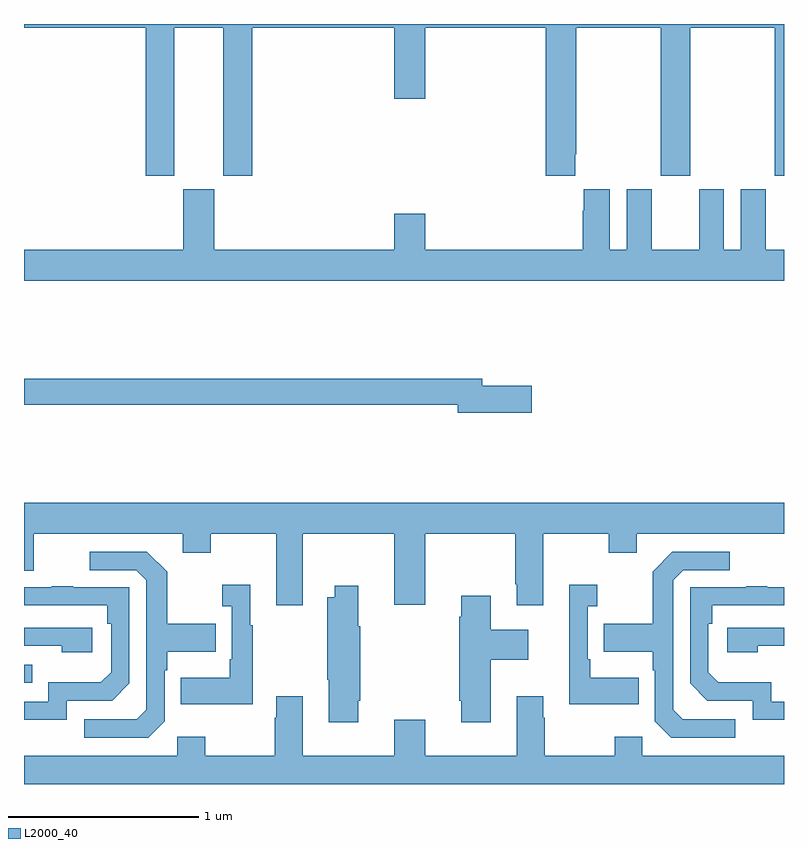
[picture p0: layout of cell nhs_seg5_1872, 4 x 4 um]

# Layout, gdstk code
import gdstk
lib = gdstk.Library(unit=1e-6, precision=1e-09)
def R(c, l, rs):  # rectangles x0, y0, x1, y1
    for r in rs: c.add(gdstk.rectangle(r[:2], r[2:], *l))
def P(c, l, *ps):  # polygons
    for p in ps: c.add(gdstk.Polygon(p, *l))
L2000_40 = (2000, 40)

nhs_seg5_1872 = lib.new_cell('nhs_seg5_1872')
R(nhs_seg5_1872, L2000_40, [(223,833.331,223.043,833.427)])
P(nhs_seg5_1872, L2000_40, [(223.792,836.78),(224.048,836.78),(224.048,836.001),(224.201,836.001),(224.201,836.78),(224.948,836.78),(224.948,836.406),(225.112,836.406),(225.112,836.78),(225.746,836.78),(225.746,836.001),(225.901,836.001),(225.901,836.113),(225.906,836.113),(225.906,836.78),(226.351,836.78),(226.351,836.001),(226.506,836.001),(226.506,836.78),(226.951,836.78),(226.951,836.001),(227,836.001),(227,836.799),(223,836.799),(223,836.78),(223.64,836.78),(223.64,836.001),(223.792,836.001)],
  [(227,835.612),(226.903,835.612),(226.903,835.93),(226.772,835.93),(226.772,835.612),(226.684,835.612),(226.684,835.93),(226.553,835.93),(226.553,835.612),(226.303,835.612),(226.303,835.93),(226.172,835.93),(226.172,835.612),(226.084,835.612),(226.084,835.93),(225.947,835.93),(225.947,835.817),(225.941,835.817),(225.941,835.612),(225.112,835.612),(225.112,835.801),(224.948,835.801),(224.948,835.612),(224.002,835.612),(224.002,835.929),(223.838,835.929),(223.838,835.612),(223,835.612),(223,835.448),(227,835.448)],
  [(225.673,834.896),(225.412,834.896),(225.412,834.932),(223,834.932),(223,834.796),(225.284,834.796),(225.284,834.754),(225.673,834.754)],
  [(224.467,834.116),(224.948,834.116),(224.948,833.742),(225.112,833.742),(225.112,834.116),(225.586,834.116),(225.586,833.851),(225.593,833.851),(225.593,833.739),(225.733,833.739),(225.733,834.116),(226.078,834.116),(226.078,834.017),(226.225,834.017),(226.225,834.116),(227,834.116),(227,834.28),(223,834.28),(223,833.922),(223.051,833.922),(223.051,834.116),(223.835,834.116),(223.835,834.017),(223.983,834.017),(223.983,834.116),(224.327,834.116),(224.327,833.739),(224.467,833.739)],
  [(223.74,833.13),(223.74,833.399),(223.753,833.399),(223.753,833.495),(224.009,833.495),(224.009,833.643),(223.753,833.643),(223.753,833.915),(223.647,834.021),(223.347,834.021),(223.347,833.925),(223.59,833.925),(223.644,833.871),(223.644,833.19),(223.593,833.139),(223.317,833.139),(223.317,833.043),(223.653,833.043)],
  [(226.744,833.139),(226.467,833.139),(226.416,833.19),(226.416,833.871),(226.47,833.925),(226.714,833.925),(226.714,834.021),(226.413,834.021),(226.308,833.915),(226.308,833.643),(226.051,833.643),(226.051,833.495),(226.308,833.495),(226.308,833.399),(226.32,833.399),(226.32,833.13),(226.407,833.043),(226.744,833.043)],
  [(226.235,833.359),(225.979,833.359),(225.979,833.455),(225.966,833.455),(225.966,833.735),(226.018,833.735),(226.018,833.848),(225.869,833.848),(225.869,833.219),(226.235,833.219)],
  [(224.203,833.635),(224.191,833.635),(224.191,833.848),(224.043,833.848),(224.043,833.735),(224.094,833.735),(224.094,833.455),(224.082,833.455),(224.082,833.359),(223.825,833.359),(223.825,833.219),(224.203,833.219)],
  [(224.758,833.236),(224.771,833.236),(224.771,833.629),(224.758,833.629),(224.758,833.842),(224.636,833.842),(224.636,833.782),(224.596,833.782),(224.596,833.347),(224.603,833.347),(224.603,833.124),(224.758,833.124)],
  [(223.224,833.238),(223.464,833.238),(223.554,833.328),(223.554,833.835),(223.259,833.835),(223.259,833.84),(223.147,833.84),(223.147,833.835),(223,833.835),(223,833.739),(223.438,833.739),(223.438,833.642),(223.458,833.642),(223.458,833.388),(223.405,833.335),(223.128,833.335),(223.128,833.232),(223,833.232),(223,833.136),(223.224,833.136)],
  [(227,833.232),(226.932,833.232),(226.932,833.335),(226.655,833.335),(226.602,833.388),(226.602,833.642),(226.622,833.642),(226.622,833.739),(227,833.739),(227,833.835),(226.913,833.835),(226.913,833.84),(226.801,833.84),(226.801,833.835),(226.506,833.835),(226.506,833.328),(226.596,833.238),(226.836,833.238),(226.836,833.136),(227,833.136)],
  [(225.457,833.453),(225.655,833.453),(225.655,833.611),(225.457,833.611),(225.457,833.791),(225.302,833.791),(225.302,833.678),(225.29,833.678),(225.29,833.236),(225.302,833.236),(225.302,833.124),(225.457,833.124)],
  [(223.36,833.622),(223,833.622),(223,833.526),(223.199,833.526),(223.199,833.492),(223.36,833.492)],
  [(226.862,833.526),(227,833.526),(227,833.622),(226.701,833.622),(226.701,833.492),(226.862,833.492)],
  [(227,832.948),(226.254,832.948),(226.254,833.047),(226.108,833.047),(226.108,832.948),(225.741,832.948),(225.741,833.147),(225.733,833.147),(225.733,833.26),(225.593,833.26),(225.593,832.948),(225.112,832.948),(225.112,833.137),(224.948,833.137),(224.948,832.948),(224.467,832.948),(224.467,833.26),(224.327,833.26),(224.327,833.147),(224.32,833.147),(224.32,832.948),(223.953,832.948),(223.953,833.047),(223.806,833.047),(223.806,832.948),(223,832.948),(223,832.799),(227,832.799)])

lib.write_gds('nhs_seg5_1872.gds')
